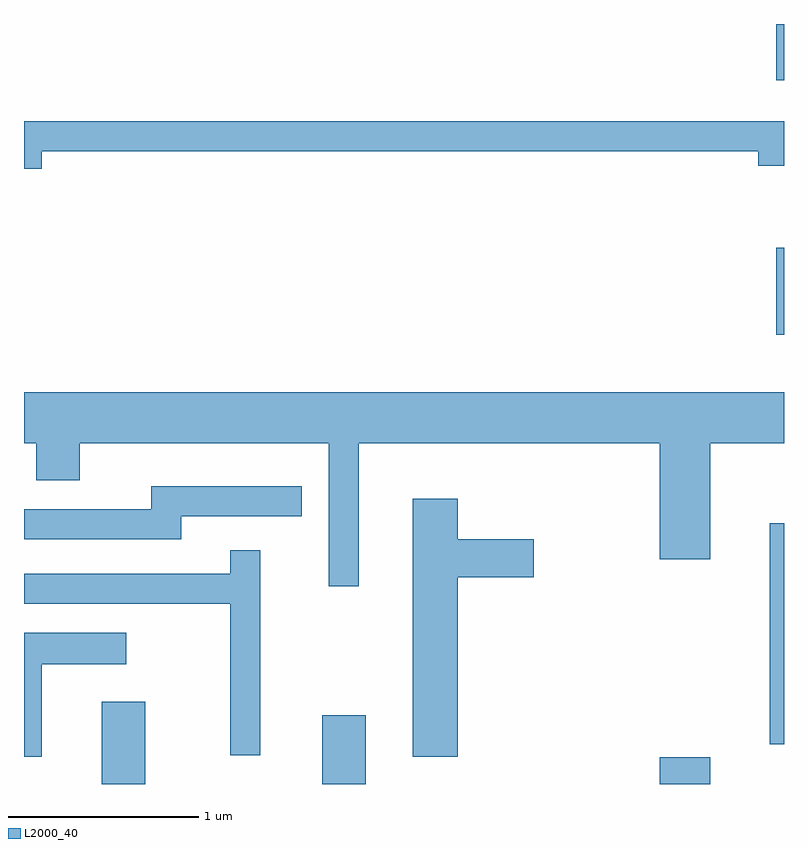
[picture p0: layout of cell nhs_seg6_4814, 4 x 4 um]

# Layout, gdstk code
import gdstk
lib = gdstk.Library(unit=1e-6, precision=1e-09)
def R(c, l, rs):  # rectangles x0, y0, x1, y1
    for r in rs: c.add(gdstk.rectangle(r[:2], r[2:], *l))
def P(c, l, *ps):  # polygons
    for p in ps: c.add(gdstk.Polygon(p, *l))
L2000_40 = (2000, 40)

nhs_seg6_4814 = lib.new_cell('nhs_seg6_4814')
R(nhs_seg6_4814, L2000_40, [(332.021,1628.162,332.249,1628.594), (333.181,1628.162,333.409,1628.524), (334.956,1628.162,335.224,1628.304), (335.536,1628.371,335.611,1629.534), (335.571,1630.526,335.611,1630.984), (335.571,1631.866,335.611,1632.162)])
P(nhs_seg6_4814, L2000_40, [(331.704,1631.491),(335.476,1631.491),(335.476,1631.416),(335.611,1631.416),(335.611,1631.649),(331.611,1631.649),(331.611,1631.401),(331.704,1631.401)],
  [(333.374,1629.956),(334.956,1629.956),(334.956,1629.346),(335.224,1629.346),(335.224,1629.956),(335.611,1629.956),(335.611,1630.224),(331.611,1630.224),(331.611,1629.956),(331.676,1629.956),(331.676,1629.761),(331.904,1629.761),(331.904,1629.956),(333.216,1629.956),(333.216,1629.203),(333.374,1629.203)],
  [(332.439,1629.571),(333.073,1629.571),(333.073,1629.729),(332.281,1629.729),(332.281,1629.609),(331.611,1629.609),(331.611,1629.451),(332.439,1629.451)],
  [(333.894,1629.251),(334.294,1629.251),(334.294,1629.449),(333.894,1629.449),(333.894,1629.664),(333.656,1629.664),(333.656,1628.306),(333.894,1628.306)],
  [(332.854,1629.393),(332.696,1629.393),(332.696,1629.269),(331.611,1629.269),(331.611,1629.111),(332.696,1629.111),(332.696,1628.313),(332.854,1628.313)],
  [(331.704,1628.791),(332.148,1628.791),(332.148,1628.959),(331.611,1628.959),(331.611,1628.306),(331.704,1628.306)])

lib.write_gds('nhs_seg6_4814.gds')
